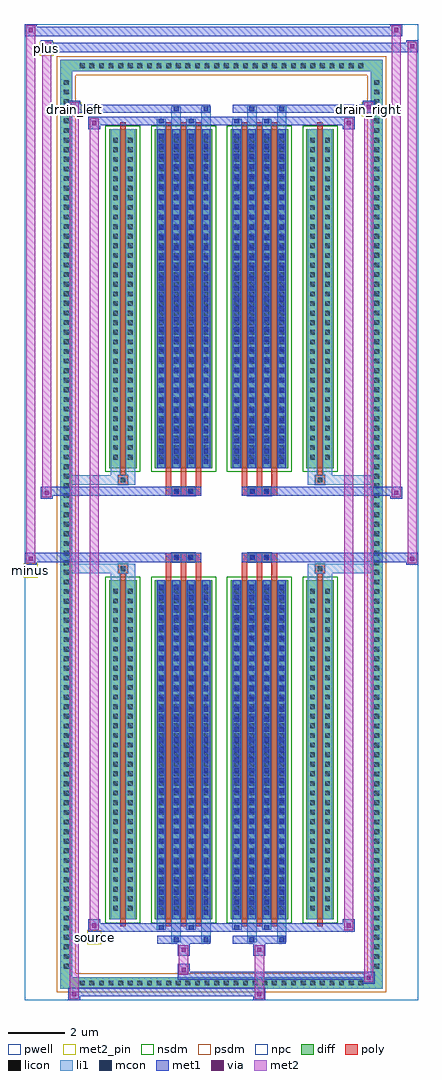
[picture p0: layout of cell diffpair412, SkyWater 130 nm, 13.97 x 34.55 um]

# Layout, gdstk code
import gdstk
lib = gdstk.Library(unit=1e-6, precision=5e-09)
def R(c, l, rs):  # rectangles x0, y0, x1, y1
    for r in rs: c.add(gdstk.rectangle(r[:2], r[2:], *l))
def A(c, l, x, y, w, h, nx, ny, dx, dy):  # array of equal rectangles
    R(c, l, [(x+i*dx, y+j*dy, x+i*dx+w, y+j*dy+h) for i in range(nx) for j in range(ny)])
def P(c, l, *ps):  # polygons
    for p in ps: c.add(gdstk.Polygon(p, *l))
pwell = (64, 44)
diff = (65, 20)
poly = (66, 20)
licon = (66, 44)
li1 = (67, 20)
mcon = (67, 44)
met1 = (68, 20)
via = (68, 44)
met2_pin = (69, 16)
met2 = (69, 20)
nsdm = (93, 44)
psdm = (94, 20)
npc = (95, 20)

diffpair412 = lib.new_cell('diffpair412')
R(diffpair412, pwell, [(-6.97,-16.84,6.97,17.71), (-4.29,-15.03,-0.01,-0.805), (0.01,-15.03,4.29,-0.805), (-4.29,0.805,-0.01,15.03), (0.01,0.805,4.29,15.03)])
A(diffpair412, diff, -5.135, -16.44, 0.41, 0.41, 30, 2, 0.34, 32.47)
A(diffpair412, diff, -5.7, -15.845, 0.41, 0.41, 1, 93, 0, 0.34)
A(diffpair412, diff, 5.29, -15.845, 0.41, 0.41, 1, 93, 0, 0.34)
R(diffpair412, diff, [(-5.135,-16.44,5.135,-16.03), (-5.7,-15.845,-5.29,15.845), (5.29,-15.845,5.7,15.845), (-3.98,-13.985,-3,-1.985), (-2.36,-13.985,-0.32,-1.985), (0.32,-13.985,2.36,-1.985), (3,-13.985,3.98,-1.985), (-3.98,1.985,-3,13.985), (-2.36,1.985,-0.32,13.985), (0.32,1.985,2.36,13.985), (3,1.985,3.98,13.985), (-5.135,16.03,5.135,16.44)])
P(diffpair412, diff, [(5.7,16.44),(-5.7,16.44),(-5.7,-16.03),(-5.29,-16.03),(-5.29,16.03),(5.29,16.03),(5.29,-16.03),(-5.29,-16.03),(-5.7,-16.03),(-5.7,-16.44),(5.7,-16.44)])
A(diffpair412, poly, -1.97, -14.235, 0.2, 12.5, 3, 2, 0.53, 15.97)
A(diffpair412, poly, 0.71, -14.235, 0.2, 12.5, 3, 2, 0.53, 15.97)
A(diffpair412, poly, -1.97, -1.735, 0.2, 0.4, 3, 2, 0.53, 3.07)
A(diffpair412, poly, 0.71, -1.735, 0.2, 0.4, 3, 2, 0.53, 3.07)
R(diffpair412, poly, [(-3.59,-14.235,-3.39,-1.735), (3.39,-14.235,3.59,-1.735), (-3.655,-1.735,-3.325,-1.405), (-3.655,-1.735,-3.325,-1.405), (3.325,-1.735,3.655,-1.405), (3.325,-1.735,3.655,-1.405), (-1.97,-1.335,-0.71,-1.005), (-1.755,-1.335,-1.425,-1.005), (-1.255,-1.335,-0.925,-1.005), (0.71,-1.335,1.97,-1.005), (0.925,-1.335,1.255,-1.005), (1.425,-1.335,1.755,-1.005), (-1.97,1.005,-0.71,1.335), (-1.755,1.005,-1.425,1.335), (-1.255,1.005,-0.925,1.335), (0.71,1.005,1.97,1.335), (0.925,1.005,1.255,1.335), (1.425,1.005,1.755,1.335), (-3.655,1.405,-3.325,1.735), (-3.655,1.405,-3.325,1.735), (3.325,1.405,3.655,1.735), (3.325,1.405,3.655,1.735), (-3.59,1.735,-3.39,14.235), (3.39,1.735,3.59,14.235)])
A(diffpair412, licon, -5.015, -16.32, 0.17, 0.17, 30, 2, 0.34, 32.47)
A(diffpair412, licon, -5.58, -15.725, 0.17, 0.17, 1, 93, 0, 0.34)
A(diffpair412, licon, 5.41, -15.725, 0.17, 0.17, 1, 93, 0, 0.34)
A(diffpair412, licon, -3.84, -13.68, 0.17, 0.17, 1, 34, 0, 0.34)
A(diffpair412, licon, -3.31, -13.68, 0.17, 0.17, 1, 34, 0, 0.34)
A(diffpair412, licon, -2.22, -13.68, 0.17, 0.17, 4, 34, 0.53, 0.34)
A(diffpair412, licon, 0.46, -13.68, 0.17, 0.17, 4, 34, 0.53, 0.34)
A(diffpair412, licon, 3.14, -13.68, 0.17, 0.17, 1, 34, 0, 0.34)
A(diffpair412, licon, 3.67, -13.68, 0.17, 0.17, 1, 34, 0, 0.34)
A(diffpair412, licon, -3.84, 2.29, 0.17, 0.17, 1, 34, 0, 0.34)
A(diffpair412, licon, -3.31, 2.29, 0.17, 0.17, 1, 34, 0, 0.34)
A(diffpair412, licon, -2.22, 2.29, 0.17, 0.17, 4, 34, 0.53, 0.34)
A(diffpair412, licon, 0.46, 2.29, 0.17, 0.17, 4, 34, 0.53, 0.34)
A(diffpair412, licon, 3.14, 2.29, 0.17, 0.17, 1, 34, 0, 0.34)
A(diffpair412, licon, 3.67, 2.29, 0.17, 0.17, 1, 34, 0, 0.34)
R(diffpair412, licon, [(-3.575,-1.655,-3.405,-1.485), (3.405,-1.655,3.575,-1.485), (-1.675,-1.255,-1.505,-1.085), (-1.175,-1.255,-1.005,-1.085), (1.005,-1.255,1.175,-1.085), (1.505,-1.255,1.675,-1.085), (-1.675,1.085,-1.505,1.255), (-1.175,1.085,-1.005,1.255), (1.005,1.085,1.175,1.255), (1.505,1.085,1.675,1.255), (-3.575,1.485,-3.405,1.655), (3.405,1.485,3.575,1.655)])
A(diffpair412, li1, -5.095, -16.4, 0.33, 0.33, 30, 2, 0.34, 32.47)
A(diffpair412, li1, -5.66, -15.805, 0.33, 0.33, 1, 93, 0, 0.34)
A(diffpair412, li1, 5.33, -15.805, 0.33, 0.33, 1, 93, 0, 0.34)
A(diffpair412, li1, -2.3, -13.985, 0.33, 12, 4, 2, 0.53, 15.97)
A(diffpair412, li1, 0.38, -13.985, 0.33, 12, 4, 2, 0.53, 15.97)
A(diffpair412, li1, -2.22, -13.83, 0.17, 0.17, 4, 33, 0.53, 0.36)
A(diffpair412, li1, -2.22, -13.83, 0.17, 11.69, 4, 2, 0.53, 15.97)
A(diffpair412, li1, 0.46, -13.83, 0.17, 0.17, 4, 33, 0.53, 0.36)
A(diffpair412, li1, 0.46, -13.83, 0.17, 11.69, 4, 2, 0.53, 15.97)
A(diffpair412, li1, -3.92, -13.76, 0.33, 0.33, 1, 34, 0, 0.34)
A(diffpair412, li1, -3.39, -13.76, 0.33, 0.33, 1, 34, 0, 0.34)
A(diffpair412, li1, -2.3, -13.76, 0.33, 0.33, 4, 34, 0.53, 0.34)
A(diffpair412, li1, 0.38, -13.76, 0.33, 0.33, 4, 34, 0.53, 0.34)
A(diffpair412, li1, 3.06, -13.76, 0.33, 0.33, 1, 34, 0, 0.34)
A(diffpair412, li1, 3.59, -13.76, 0.33, 0.33, 1, 34, 0, 0.34)
A(diffpair412, li1, -2.22, 2.14, 0.17, 0.17, 4, 33, 0.53, 0.36)
A(diffpair412, li1, 0.46, 2.14, 0.17, 0.17, 4, 33, 0.53, 0.36)
A(diffpair412, li1, -3.92, 2.21, 0.33, 0.33, 1, 34, 0, 0.34)
A(diffpair412, li1, -3.39, 2.21, 0.33, 0.33, 1, 34, 0, 0.34)
A(diffpair412, li1, -2.3, 2.21, 0.33, 0.33, 4, 34, 0.53, 0.34)
A(diffpair412, li1, 0.38, 2.21, 0.33, 0.33, 4, 34, 0.53, 0.34)
A(diffpair412, li1, 3.06, 2.21, 0.33, 0.33, 1, 34, 0, 0.34)
A(diffpair412, li1, 3.59, 2.21, 0.33, 0.33, 1, 34, 0, 0.34)
R(diffpair412, li1, [(-5.7,-16.44,-5.29,-16.03), (-5.7,-16.44,-5.29,-16.03), (-5.29,-16.44,5.29,-16.03), (5.29,-16.44,5.7,-16.03), (5.29,-16.44,5.7,-16.03), (-5.7,-16.03,-5.29,16.03), (5.29,-16.03,5.7,16.03), (-1.77,-14.79,-1.44,-13.985), (-1.69,-14.79,-1.52,-14.62), (-0.71,-14.79,-0.38,-13.985), (-0.63,-14.79,-0.46,-14.62), (0.91,-14.79,1.24,-13.985), (0.99,-14.79,1.16,-14.62), (1.97,-14.79,2.3,-13.985), (2.05,-14.79,2.22,-14.62), (-2.3,-14.36,-1.97,-13.985), (-2.22,-14.36,-2.05,-14.19), (-1.24,-14.36,-0.91,-13.985), (-1.16,-14.36,-0.99,-14.19), (0.38,-14.36,0.71,-13.985), (0.46,-14.36,0.63,-14.19), (1.44,-14.36,1.77,-13.985), (1.52,-14.36,1.69,-14.19), (-3.92,-13.985,-3.59,-1.985), (-3.39,-13.985,-3.06,-1.985), (3.06,-13.985,3.39,-1.985), (3.59,-13.985,3.92,-1.985), (-3.92,-1.985,-3.59,-1.405), (-3.39,-1.985,-3.06,-1.405), (3.06,-1.985,3.39,-1.405), (3.59,-1.985,3.92,-1.405), (-5.7,-1.735,-3.655,-1.405), (-3.92,-1.735,-3.655,-1.405), (-3.655,-1.735,-3.325,-1.405), (-3.325,-1.735,-3.06,-1.405), (3.06,-1.735,3.325,-1.405), (3.325,-1.735,3.655,-1.405), (3.325,-1.735,5.7,-1.405), (3.655,-1.735,3.92,-1.405), (-1.755,-1.335,-1.425,-1.005), (-1.255,-1.335,-0.925,-1.005), (0.925,-1.335,1.255,-1.005), (1.425,-1.335,1.755,-1.005), (-1.755,1.005,-1.425,1.335), (-1.255,1.005,-0.925,1.335), (0.925,1.005,1.255,1.335), (1.425,1.005,1.755,1.335), (-5.7,1.405,-3.655,1.735), (-3.92,1.405,-3.655,1.735), (-3.92,1.405,-3.59,1.985), (-3.655,1.405,-3.325,1.735), (-3.39,1.405,-3.06,1.985), (-3.325,1.405,-3.06,1.735), (3.06,1.405,3.325,1.735), (3.06,1.405,3.39,1.985), (3.325,1.405,3.655,1.735), (3.325,1.405,5.7,1.735), (3.59,1.405,3.92,1.985), (3.655,1.405,3.92,1.735), (-3.92,1.985,-3.59,13.985), (-3.39,1.985,-3.06,13.985), (3.06,1.985,3.39,13.985), (3.59,1.985,3.92,13.985), (-2.3,13.985,-1.97,14.36), (-1.77,13.985,-1.44,14.79), (-1.24,13.985,-0.91,14.36), (-0.71,13.985,-0.38,14.79), (0.38,13.985,0.71,14.36), (0.91,13.985,1.24,14.79), (1.44,13.985,1.77,14.36), (1.97,13.985,2.3,14.79), (-2.22,14.19,-2.05,14.36), (-1.16,14.19,-0.99,14.36), (0.46,14.19,0.63,14.36), (1.52,14.19,1.69,14.36), (-1.69,14.62,-1.52,14.79), (-0.63,14.62,-0.46,14.79), (0.99,14.62,1.16,14.79), (2.05,14.62,2.22,14.79), (-5.7,16.03,-5.29,16.44), (-5.7,16.03,-5.29,16.44), (-5.29,16.03,5.29,16.44), (5.29,16.03,5.7,16.44), (5.29,16.03,5.7,16.44)])
A(diffpair412, mcon, -2.22, -13.83, 0.17, 0.17, 4, 33, 0.53, 0.36)
A(diffpair412, mcon, 0.46, -13.83, 0.17, 0.17, 4, 33, 0.53, 0.36)
A(diffpair412, mcon, -2.22, 2.14, 0.17, 0.17, 4, 33, 0.53, 0.36)
A(diffpair412, mcon, 0.46, 2.14, 0.17, 0.17, 4, 33, 0.53, 0.36)
R(diffpair412, mcon, [(-1.69,-14.79,-1.52,-14.62), (-0.63,-14.79,-0.46,-14.62), (0.99,-14.79,1.16,-14.62), (2.05,-14.79,2.22,-14.62), (-2.22,-14.36,-2.05,-14.19), (-1.16,-14.36,-0.99,-14.19), (0.46,-14.36,0.63,-14.19), (1.52,-14.36,1.69,-14.19), (-1.675,-1.255,-1.505,-1.085), (-1.175,-1.255,-1.005,-1.085), (1.005,-1.255,1.175,-1.085), (1.505,-1.255,1.675,-1.085), (-1.675,1.085,-1.505,1.255), (-1.175,1.085,-1.005,1.255), (1.005,1.085,1.175,1.255), (1.505,1.085,1.675,1.255), (-2.22,14.19,-2.05,14.36), (-1.16,14.19,-0.99,14.36), (0.46,14.19,0.63,14.36), (1.52,14.19,1.69,14.36), (-1.69,14.62,-1.52,14.79), (-0.63,14.62,-0.46,14.79), (0.99,14.62,1.16,14.79), (2.05,14.62,2.22,14.79)])
A(diffpair412, met1, -2.28, -13.985, 0.29, 12, 4, 2, 0.53, 15.97)
A(diffpair412, met1, 0.4, -13.985, 0.29, 12, 4, 2, 0.53, 15.97)
A(diffpair412, met1, -2.28, -13.89, 0.29, 0.29, 4, 33, 0.53, 0.36)
A(diffpair412, met1, 0.4, -13.89, 0.29, 0.29, 4, 33, 0.53, 0.36)
A(diffpair412, met1, -2.28, 2.08, 0.29, 0.29, 4, 33, 0.53, 0.36)
A(diffpair412, met1, 0.4, 2.08, 0.29, 0.29, 4, 33, 0.53, 0.36)
R(diffpair412, met1, [(-5.43,-16.84,-5,-16.41), (1.125,-16.84,1.555,-16.41), (-5.43,-16.7,1.555,-16.41), (5,-16.27,5.43,-15.84), (-1.555,-16.13,5.43,-15.84), (-1.555,-15.99,-1.125,-15.56), (-1.555,-15.28,-1.125,-14.85), (1.125,-15.28,1.555,-14.85), (-2.28,-14.85,-0.4,-14.56), (-1.75,-14.85,-1.46,-14.56), (-0.69,-14.85,-0.4,-14.56), (0.4,-14.85,2.28,-14.56), (0.93,-14.85,1.22,-14.56), (1.99,-14.85,2.28,-14.56), (-4.72,-14.42,-4.29,-13.99), (-4.72,-14.42,-2.28,-14.13), (-2.28,-14.42,-1.99,-14.13), (-2.28,-14.42,-0.4,-14.13), (-1.22,-14.42,-0.93,-14.13), (-0.4,-14.42,0.4,-14.13), (0.4,-14.42,0.69,-14.13), (0.4,-14.42,2.28,-14.13), (1.46,-14.42,1.75,-14.13), (2.28,-14.42,4.72,-14.13), (4.29,-14.42,4.72,-13.99), (-6.97,-1.435,-6.54,-1.005), (6.54,-1.435,6.97,-1.005), (-6.97,-1.335,-0.71,-1.005), (-1.97,-1.335,-0.71,-1.005), (0.71,-1.335,1.97,-1.005), (0.71,-1.335,6.97,-1.005), (-1.735,-1.315,-1.445,-1.025), (-1.235,-1.315,-0.945,-1.025), (0.945,-1.315,1.235,-1.025), (1.445,-1.315,1.735,-1.025), (-6.4,0.905,-5.97,1.335), (5.97,0.905,6.4,1.335), (-6.4,1.005,-1.97,1.335), (-1.97,1.005,-0.71,1.335), (0.71,1.005,1.97,1.335), (1.97,1.005,6.4,1.335), (-1.735,1.025,-1.445,1.315), (-1.235,1.025,-0.945,1.315), (0.945,1.025,1.235,1.315), (1.445,1.025,1.735,1.315), (-4.72,13.99,-4.29,14.42), (4.29,13.99,4.72,14.42), (-4.72,14.13,-2.28,14.42), (-2.28,14.13,-1.99,14.42), (-2.28,14.13,-0.4,14.42), (-1.22,14.13,-0.93,14.42), (-0.4,14.13,0.4,14.42), (0.4,14.13,0.69,14.42), (0.4,14.13,2.28,14.42), (1.46,14.13,1.75,14.42), (2.28,14.13,4.72,14.42), (-5.43,14.56,-5,14.99), (-5.43,14.56,-2.28,14.85), (-2.28,14.56,-0.4,14.85), (-1.75,14.56,-1.46,14.85), (-0.69,14.56,-0.4,14.85), (0.4,14.56,2.28,14.85), (0.93,14.56,1.22,14.85), (1.99,14.56,2.28,14.85), (2.28,14.56,5.43,14.85), (5,14.56,5.43,14.99), (-6.4,16.71,-5.97,17.14), (-6.4,16.71,-4.29,17.04), (-4.29,16.71,4.29,17.04), (4.29,16.71,6.97,17.04), (6.54,16.71,6.97,17.14), (-6.97,17.28,-6.54,17.71), (-6.97,17.28,-4.29,17.61), (-4.29,17.28,4.29,17.61), (4.29,17.28,6.4,17.61), (5.97,17.28,6.4,17.71)])
R(diffpair412, via, [(-5.29,-16.7,-5.14,-16.55), (1.265,-16.7,1.415,-16.55), (5.14,-16.13,5.29,-15.98), (-1.415,-15.85,-1.265,-15.7), (-1.415,-15.14,-1.265,-14.99), (1.265,-15.14,1.415,-14.99), (-4.58,-14.28,-4.43,-14.13), (4.43,-14.28,4.58,-14.13), (-6.83,-1.295,-6.68,-1.145), (6.68,-1.295,6.83,-1.145), (-6.26,1.045,-6.11,1.195), (6.11,1.045,6.26,1.195), (-4.58,14.13,-4.43,14.28), (4.43,14.13,4.58,14.28), (-5.29,14.7,-5.14,14.85), (5.14,14.7,5.29,14.85), (-6.26,16.85,-6.11,17), (6.68,16.85,6.83,17), (-6.83,17.42,-6.68,17.57), (6.11,17.42,6.26,17.57)])
R(diffpair412, met2_pin, [(-4.755,-14.87,-4.255,-14.37), (-7.005,-1.885,-6.505,-1.385), (-5.465,14.44,-4.965,14.94), (4.965,14.44,5.465,14.94), (-6.435,16.59,-5.935,17.09)])
R(diffpair412, met2, [(-5.38,-16.79,-5.05,-16.46), (-5.38,-16.79,-5.05,14.94), (1.175,-16.79,1.505,-16.46), (1.175,-16.46,1.505,-15.23), (5.05,-16.22,5.38,-15.89), (5.05,-16.22,5.38,14.94), (-1.505,-15.94,-1.175,-15.61), (-1.505,-15.61,-1.175,-15.23), (-1.505,-15.23,-1.175,-14.9), (1.175,-15.23,1.505,-14.9), (-4.67,-14.37,-4.34,-14.04), (-4.67,-14.37,-4.34,14.37), (4.34,-14.37,4.67,-14.04), (4.34,-14.37,4.67,14.37), (-6.92,-1.385,-6.59,-1.055), (-6.92,-1.385,-6.59,17.66), (6.59,-1.385,6.92,-1.055), (6.59,-1.385,6.92,17.09), (-6.35,0.955,-6.02,1.285), (-6.35,0.955,-6.02,17.09), (6.02,0.955,6.35,1.285), (6.02,0.955,6.35,17.66), (-4.67,14.04,-4.34,14.37), (4.34,14.04,4.67,14.37), (-5.38,14.61,-5.05,14.94), (5.05,14.61,5.38,14.94), (-6.35,16.76,-6.02,17.09), (6.59,16.76,6.92,17.09), (-6.92,17.33,-6.59,17.66), (6.02,17.33,6.35,17.66)])
P(diffpair412, met2, [(6.92,-1.385),(6.92,-1.385),(6.92,-1.055),(6.92,-1.055)],
  [(6.92,16.76),(6.92,16.76),(6.92,17.09),(6.92,17.09)],
  [(-6.59,-1.385),(-6.59,-1.385),(-6.59,-1.055),(-6.59,-1.055)],
  [(-6.59,17.33),(-6.59,17.33),(-6.59,17.66),(-6.59,17.66)],
  [(6.35,0.955),(6.35,0.955),(6.35,1.285),(6.35,1.285)],
  [(6.35,17.33),(6.35,17.33),(6.35,17.66),(6.35,17.66)],
  [(-6.02,0.955),(-6.02,0.955),(-6.02,1.285),(-6.02,1.285)],
  [(-6.02,16.76),(-6.02,16.76),(-6.02,17.09),(-6.02,17.09)],
  [(-5.05,-16.79),(-5.05,-16.79),(-5.05,-16.46),(-5.05,-16.46)],
  [(-5.05,14.61),(-5.05,14.61),(-5.05,14.94),(-5.05,14.94)],
  [(5.38,-16.22),(5.38,-16.22),(5.38,-15.89),(5.38,-15.89)],
  [(5.38,14.61),(5.38,14.61),(5.38,14.94),(5.38,14.94)],
  [(-4.34,-14.37),(-4.34,-14.37),(-4.34,-14.04),(-4.34,-14.04)],
  [(-4.34,14.04),(-4.34,14.04),(-4.34,14.37),(-4.34,14.37)],
  [(4.67,-14.37),(4.67,-14.37),(4.67,-14.04),(4.67,-14.04)],
  [(4.67,14.04),(4.67,14.04),(4.67,14.37),(4.67,14.37)])
R(diffpair412, nsdm, [(-4.11,-14.115,-2.87,-1.855), (-2.49,-14.115,-0.19,-1.855), (0.19,-14.115,2.49,-1.855), (2.87,-14.115,4.11,-1.855), (-4.11,1.855,-2.87,14.115), (-2.49,1.855,-0.19,14.115), (0.19,1.855,2.49,14.115), (2.87,1.855,4.11,14.115)])
P(diffpair412, psdm, [(5.83,16.57),(-5.83,16.57),(-5.83,-15.9),(-5.16,-15.9),(-5.16,15.9),(5.16,15.9),(5.16,-15.9),(-5.16,-15.9),(-5.83,-15.9),(-5.83,-16.57),(5.83,-16.57)])
R(diffpair412, npc, [(-3.675,-1.755,-3.305,-1.385), (3.305,-1.755,3.675,-1.385), (-1.775,-1.355,-1.405,-0.985), (-1.775,-1.355,-0.905,-0.985), (-1.775,-1.355,-0.905,-0.985), (-1.275,-1.355,-0.905,-0.985), (0.905,-1.355,1.275,-0.985), (0.905,-1.355,1.775,-0.985), (0.905,-1.355,1.775,-0.985), (1.405,-1.355,1.775,-0.985), (-1.775,0.985,-1.405,1.355), (-1.775,0.985,-0.905,1.355), (-1.775,0.985,-0.905,1.355), (-1.275,0.985,-0.905,1.355), (0.905,0.985,1.275,1.355), (0.905,0.985,1.775,1.355), (0.905,0.985,1.775,1.355), (1.405,0.985,1.775,1.355), (-3.675,1.385,-3.305,1.755), (3.305,1.385,3.675,1.755)])
diffpair412.add(gdstk.Label('minus', (-6.755,-1.635), layer=69, texttype=5))
diffpair412.add(gdstk.Label('drain_right', (5.215,14.69), layer=69, texttype=5))
diffpair412.add(gdstk.Label('drain_left', (-5.215,14.69), layer=69, texttype=5))
diffpair412.add(gdstk.Label('source', (-4.505,-14.62), layer=69, texttype=5))
diffpair412.add(gdstk.Label('plus', (-6.185,16.84), layer=69, texttype=5))

lib.write_gds('diffpair412.gds')
